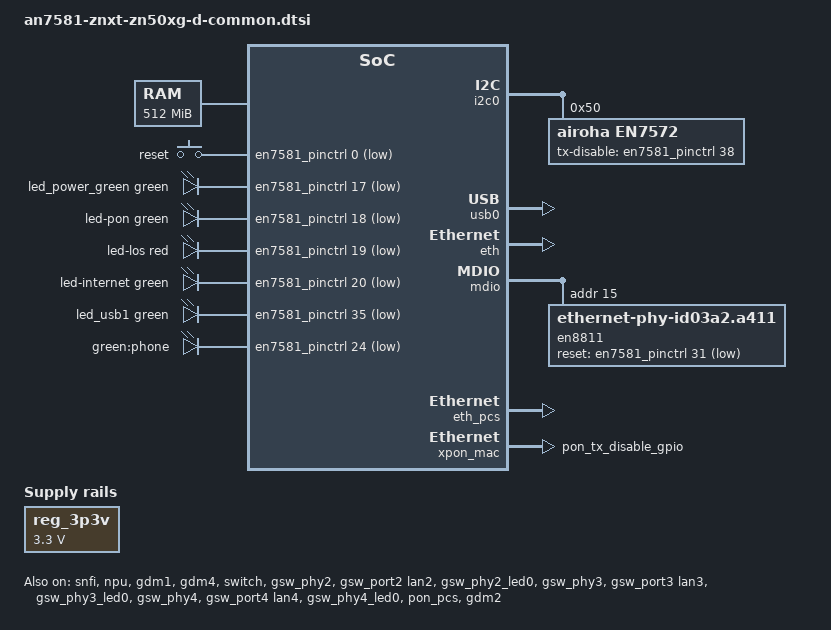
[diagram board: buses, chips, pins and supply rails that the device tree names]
// SPDX-License-Identifier: (GPL-2.0-only OR BSD-2-Clause)

/*
 * ZN504XG-D and ZN515XG-D share EN7581, an EN7572-compatible frontend,
 * EN8811H, three internal Gigabit PHYs, USB1, panel LEDs, and NAND layout.
 * Variant DTS files describe the ZN515 radio, USB2, and PON identity offsets.
 */
#include <dt-bindings/gpio/gpio.h>
#include <dt-bindings/input/input.h>
#include <dt-bindings/leds/common.h>
#include "an7581.dtsi"

/ {
	aliases {
		label-mac-device = &gdm1;
		led-boot = &led_power_green;
		led-failsafe = &led_power_green;
		led-running = &led_power_green;
		led-upgrade = &led_power_green;
		serial0 = &uart1;
	};

	chosen {
		/* fitblk locates the FIT rootfs by volume node while UBI assigns IDs. */
		rootdisk = <&ubi_fit>;
		bootargs = "console=ttyS0,115200 earlycon";
		stdout-path = "serial0:115200n8";
	};

	/*
	 * 512 MiB is the board baseline. U-Boot reads installed capacity from
	 * BL2 SCREG_WR1 and updates this node before bootm.
	 */
	memory@80000000 {
		device_type = "memory";
		reg = <0x0 0x80000000 0x0 0x20000000>;
	};

	keys {
		compatible = "gpio-keys";

		key-reset {
			label = "reset";
			linux,code = <KEY_RESTART>;
			/* The reset key is connected to active-low GPIO0. */
			gpios = <&en7581_pinctrl 0 GPIO_ACTIVE_LOW>;
			debounce-interval = <60>;
		};
	};

	leds {
		compatible = "gpio-leds";

		led_power_green: led-power {
			color = <LED_COLOR_ID_GREEN>;
			function = LED_FUNCTION_POWER;
			/* The active-low power LED is connected to GPIO17. */
			gpios = <&en7581_pinctrl 17 GPIO_ACTIVE_LOW>;
			default-state = "on";
			panic-indicator;
		};

		led-pon {
			color = <LED_COLOR_ID_GREEN>;
			function = LED_FUNCTION_WAN;
			/* The active-low PON LED follows xPON registration on GPIO18. */
			gpios = <&en7581_pinctrl 18 GPIO_ACTIVE_LOW>;
			linux,default-trigger = "pon0-registration";
		};

		led-los {
			color = <LED_COLOR_ID_RED>;
			function = LED_FUNCTION_WAN;
			/* The active-low LOS LED is connected to GPIO19. */
			gpios = <&en7581_pinctrl 19 GPIO_ACTIVE_LOW>;
			linux,default-trigger = "pon0-los";
		};

		led-internet {
			color = <LED_COLOR_ID_GREEN>;
			function = LED_FUNCTION_WAN_ONLINE;
			/* The active-low Internet LED is connected to GPIO20. */
			gpios = <&en7581_pinctrl 20 GPIO_ACTIVE_LOW>;
			linux,default-trigger = "pon0-online";
		};

		led_usb1: led-usb1 {
			color = <LED_COLOR_ID_GREEN>;
			function = LED_FUNCTION_USB;
			function-enumerator = <1>;
			/* The active-low USB1 storage LED is connected to GPIO35. */
			gpios = <&en7581_pinctrl 35 GPIO_ACTIVE_LOW>;
			linux,default-trigger = "usbport";
			trigger-sources = <&usb_port1>;
		};

		led-phone {
			label = "green:phone";
			/* The active-low POTS hook LED is connected to GPIO24. */
			gpios = <&en7581_pinctrl 24 GPIO_ACTIVE_LOW>;
		};
	};

	/* The USB PHY 3.3V reference supply is always on. */
	reg_3p3v: regulator-3p3v {
		compatible = "regulator-fixed";
		regulator-always-on;
		regulator-boot-on;
		regulator-min-microvolt = <3300000>;
		regulator-max-microvolt = <3300000>;
		regulator-name = "fixed-3.3V";
	};
};

&en7581_pinctrl {
	gpio-ranges = <&en7581_pinctrl 0 13 50>;

	pon_pins: pon-pins {
		mux {
			/* Leave GPIO38/TX_DISABLE under optical frontend control. */
			function = "pon";
			groups = "pon_tx_disable_gpio";
		};
	};

	mdio_pins: mdio-pins {
		mux {
			function = "mdio";
			groups = "mdio";
		};
	};

	gswp2_led0_pins: gswp2-led0-pins {
		mux {
			function = "phy2_led0";
			pins = "gpio44";
		};
	};

	gswp3_led0_pins: gswp3-led0-pins {
		mux {
			function = "phy3_led0";
			pins = "gpio45";
		};
	};

	gswp4_led0_pins: gswp4-led0-pins {
		mux {
			function = "phy4_led0";
			pins = "gpio46";
		};
	};
};

&snfi {
	status = "okay";
};

&spi_nand {
	/* The board compatible selects F50L2G41XA semantics for shared ID 2c:24. */
	compatible = "esmt,f50l2g41xa", "spi-nand";
	nand-ecc-engine = <&spi_nand>;

	partitions: partitions {
		compatible = "fixed-partitions";
		#address-cells = <1>;
		#size-cells = <1>;

		/* BootROM loads BL2 from the first block; BL2 locates later UBI firmware. */
		partition@0 {
			label = "bl2";
			reg = <0x00000000 0x00020000>;
			read-only;
		};

		partition@20000 {
			label = "ubi";
			/* UBI manages every NAND eraseblock after BL2. */
			reg = <0x00020000 0x00000000>;
			compatible = "linux,ubi";

			volumes {
				ubi-volume-fip {
					volname = "fip";
				};

				ubi_env: ubi-volume-ubootenv {
					volname = "ubootenv";
				};

				ubi_env2: ubi-volume-ubootenv2 {
					volname = "ubootenv2";
				};

				factory: ubi-volume-factory {
					volname = "factory";

					/* factory retains reservearea data at production field offsets. */
					znxt_proline_layout: nvmem-layout {
						compatible = "fixed-layout";
						#address-cells = <1>;
						#size-cells = <1>;

						/* The base MAC uses 12 hexadecimal ASCII characters. */
						macaddr_factory: mac-address@141024 {
							compatible = "mac-base";
							reg = <0x00141024 0x0000000c>;
							#nvmem-cell-cells = <1>;
						};

						/* Optical calibration stores adjacent 256-byte A0 and A2 pages. */
						pon_calibration: calibration@1c0400 {
							reg = <0x001c0400 0x00000200>;
						};
					};
				};

				ubi_fit: ubi-volume-fit {
					volname = "fit";
				};
			};
		};
	};
};

&ubi_env {
	nvmem-layout {
		compatible = "u-boot,env-redundant-bool-layout";
	};
};

&ubi_env2 {
	nvmem-layout {
		compatible = "u-boot,env-redundant-bool-layout";
	};
};

&i2c0 {
	status = "okay";

	en7572: optical-front-end@50 {
		compatible = "airoha,en7572";
		reg = <0x50>;
		/* GPIO38 high disables upstream optical transmission. */
		tx-disable-gpios = <&en7581_pinctrl 38 GPIO_ACTIVE_HIGH>;
		nvmem-cells = <&pon_calibration>;
		nvmem-cell-names = "calibration";
	};
};

/* This controller provides ZN504 USB1 and ZN515 USB1. */
&usb0 {
	status = "okay";
	vusb33-supply = <&reg_3p3v>;
	#address-cells = <1>;
	#size-cells = <0>;

	usb_port1: port@1 {
		reg = <1>;
		#trigger-source-cells = <0>;
	};
};

&npu {
	status = "okay";
};

&eth {
	status = "okay";
};

&gdm1 {
	/* The switch CPU port uses the production base MAC. */
	nvmem-cells = <&macaddr_factory 0>;
	nvmem-cell-names = "mac-address";
	status = "okay";
};

&mdio {
	/* EN8811H uses MDIO address 0x0f for the external 2.5G port. */
	en8811: ethernet-phy@f {
		compatible = "ethernet-phy-id03a2.a411";
		reg = <0xf>;
		reset-gpios = <&en7581_pinctrl 31 GPIO_ACTIVE_LOW>;
		reset-assert-us = <10000>;
		reset-deassert-us = <20000>;

		leds {
			#address-cells = <1>;
			#size-cells = <0>;

			led-0 {
				reg = <0>;
				color = <LED_COLOR_ID_GREEN>;
				function = LED_FUNCTION_LAN;
				function-enumerator = <1>;
				default-state = "keep";
			};
		};
	};
};

&eth_pcs {
	/* HSGMII carries the EN8811H 2500BASE-X host link. */
	status = "okay";
};

&gdm4 {
	openwrt,netdev-name = "lan1";
	phy-handle = <&en8811>;
	phy-mode = "2500base-x";
	nvmem-cells = <&macaddr_factory 1>;
	nvmem-cell-names = "mac-address";
	status = "okay";
};

&switch {
	pinctrl-names = "default";
	pinctrl-0 = <&mdio_pins>;
	status = "okay";
};

/* Internal PHY addresses 0x0a, 0x0b, and 0x0c serve the remaining ports. */
&gsw_phy2 {
	interrupts = <2>;
	pinctrl-names = "gbe-led";
	pinctrl-0 = <&gswp2_led0_pins>;
	status = "okay";
};

&gsw_port2 {
	label = "lan2";
	status = "okay";
};

&gsw_phy2_led0 {
	color = <LED_COLOR_ID_GREEN>;
	function = LED_FUNCTION_LAN;
	function-enumerator = <2>;
	active-low;
	status = "okay";
};

&gsw_phy3 {
	interrupts = <3>;
	pinctrl-names = "gbe-led";
	pinctrl-0 = <&gswp3_led0_pins>;
	status = "okay";
};

&gsw_port3 {
	label = "lan3";
	status = "okay";
};

&gsw_phy3_led0 {
	color = <LED_COLOR_ID_GREEN>;
	function = LED_FUNCTION_LAN;
	function-enumerator = <3>;
	active-low;
	status = "okay";
};

&gsw_phy4 {
	interrupts = <4>;
	pinctrl-names = "gbe-led";
	pinctrl-0 = <&gswp4_led0_pins>;
	status = "okay";
};

&gsw_port4 {
	label = "lan4";
	status = "okay";
};

&gsw_phy4_led0 {
	color = <LED_COLOR_ID_GREEN>;
	function = LED_FUNCTION_LAN;
	function-enumerator = <4>;
	active-low;
	status = "okay";
};

&pon_pcs {
	status = "okay";
};

&xpon_mac {
	pinctrl-names = "default";
	pinctrl-0 = <&pon_pins>;
	optical-front-end = <&en7572>;
	nvmem-cell-names = "pon-serial";
	data-path = <&gdm2>;
	status = "okay";
};

&gdm2 {
	nvmem-cells = <&macaddr_factory 0>;
	nvmem-cell-names = "mac-address";
	airoha,pon-data-path;
	status = "okay";
};
